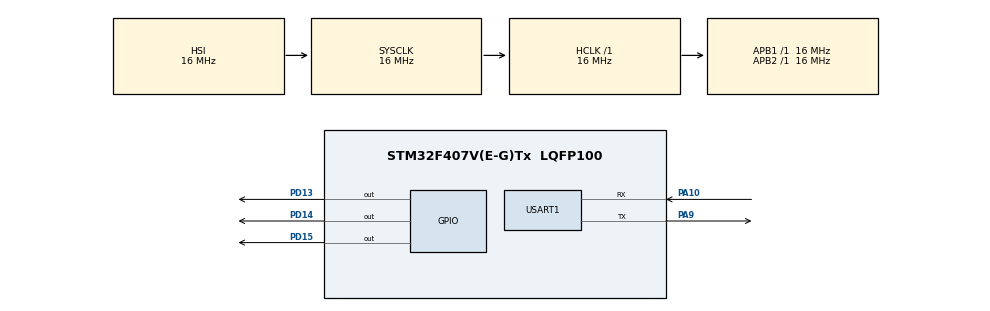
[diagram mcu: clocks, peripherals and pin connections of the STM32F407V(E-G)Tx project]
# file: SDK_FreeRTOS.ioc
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FREERTOS.Tasks01=Task_LED1,0,128,StartTaskLED1,Default,NULL,Dynamic,NULL,NULL;Task_UART,0,128,StartTaskUART,Default,NULL,Dynamic,NULL,NULL;Task_LED2,0,128,StartTasLED2,Default,NULL,Dynamic,NULL,NULL
Mcu.Family=STM32F4
Mcu.Name=STM32F407V(E-G)Tx
Mcu.Package=LQFP100
NVIC.PriorityGroup=NVIC_PRIORITYGROUP_4
NVIC.TIM1_UP_TIM10_IRQn=true\:0\:0\:false\:false\:true\:false\:false\:true
NVIC.TimeBase=TIM1_UP_TIM10_IRQn
NVIC.TimeBaseIP=TIM1
PA10.Mode=Asynchronous
PA10.Signal=USART1_RX
PA13.Mode=JTAG_5_pins
PA13.Signal=SYS_JTMS-SWDIO
PA14.Mode=JTAG_5_pins
PA14.Signal=SYS_JTCK-SWCLK
PA15.Mode=JTAG_5_pins
PA15.Signal=SYS_JTDI
PA9.Mode=Asynchronous
PA9.Signal=USART1_TX
PB3.Mode=JTAG_5_pins
PB3.Signal=SYS_JTDO-SWO
PB4.Mode=JTAG_5_pins
PB4.Signal=SYS_JTRST
PD13.Signal=GPIO_Output
PD14.Signal=GPIO_Output
PD15.Signal=GPIO_Output
PH0-OSC_IN.Mode=HSE-External-Oscillator
PH0-OSC_IN.Signal=RCC_OSC_IN
PH1-OSC_OUT.Mode=HSE-External-Oscillator
PH1-OSC_OUT.Signal=RCC_OSC_OUT
ProjectManager.HeapSize=0x200
ProjectManager.StackSize=0x400
ProjectManager.TargetToolchain=STM32CubeIDE
RCC.AHBFreq_Value=16000000
RCC.APB1Freq_Value=16000000
RCC.APB2Freq_Value=16000000
RCC.CortexFreq_Value=16000000
RCC.HSE_VALUE=25000000
RCC.HSI_VALUE=16000000
RCC.LSE_VALUE=32768
RCC.SYSCLKFreq_VALUE=16000000
RCC.VCOOutputFreq_Value=192000000
USART1.VirtualMode=VM_ASYNC
VP_FREERTOS_VS_CMSIS_V1.Mode=CMSIS_V1
VP_SYS_VS_tim1.Mode=TIM1
board=custom

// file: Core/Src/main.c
/* USER CODE BEGIN Header */
/**
  ******************************************************************************
  * @file           : main.c
  * @brief          : Main program body
  ******************************************************************************
  * This notice applies to any and all portions of this file
  * that are not between comment pairs USER CODE BEGIN and
  * USER CODE END. Other portions of this file, whether
  * inserted by the user or by software development tools
  * are owned by their respective copyright owners.
  *
  * Copyright (c) 2019 STMicroelectronics International N.V.
  * All rights reserved.
  *
  * Redistribution and use in source and binary forms, with or without
  * modification, are permitted, provided that the following conditions are met:
  *
  * 1. Redistribution of source code must retain the above copyright notice,
  *    this list of conditions and the following disclaimer.
  * 2. Redistributions in binary form must reproduce the above copyright notice,
  *    this list of conditions and the following disclaimer in the documentation
  *    and/or other materials provided with the distribution.
  * 3. Neither the name of STMicroelectronics nor the names of other
  *    contributors to this software may be used to endorse or promote products
  *    derived from this software without specific written permission.
  * 4. This software, including modifications and/or derivative works of this
  *    software, must execute solely and exclusively on microcontroller or
  *    microprocessor devices manufactured by or for STMicroelectronics.
  * 5. Redistribution and use of this software other than as permitted under
  *    this license is void and will automatically terminate your rights under
  *    this license.
  *
  * THIS SOFTWARE IS PROVIDED BY STMICROELECTRONICS AND CONTRIBUTORS "AS IS"
  * AND ANY EXPRESS, IMPLIED OR STATUTORY WARRANTIES, INCLUDING, BUT NOT
  * LIMITED TO, THE IMPLIED WARRANTIES OF MERCHANTABILITY, FITNESS FOR A
  * PARTICULAR PURPOSE AND NON-INFRINGEMENT OF THIRD PARTY INTELLECTUAL PROPERTY
  * RIGHTS ARE DISCLAIMED TO THE FULLEST EXTENT PERMITTED BY LAW. IN NO EVENT
  * SHALL STMICROELECTRONICS OR CONTRIBUTORS BE LIABLE FOR ANY DIRECT, INDIRECT,
  * INCIDENTAL, SPECIAL, EXEMPLARY, OR CONSEQUENTIAL DAMAGES (INCLUDING, BUT NOT
  * LIMITED TO, PROCUREMENT OF SUBSTITUTE GOODS OR SERVICES; LOSS OF USE, DATA,
  * OR PROFITS; OR BUSINESS INTERRUPTION) HOWEVER CAUSED AND ON ANY THEORY OF
  * LIABILITY, WHETHER IN CONTRACT, STRICT LIABILITY, OR TORT (INCLUDING
  * NEGLIGENCE OR OTHERWISE) ARISING IN ANY WAY OUT OF THE USE OF THIS SOFTWARE,
  * EVEN IF ADVISED OF THE POSSIBILITY OF SUCH DAMAGE.
  *
  ******************************************************************************
  */
/* USER CODE END Header */

#include "main.h"
#include "cmsis_os.h"
#include "usart.h"
#include "gpio.h"

void SystemClock_Config(void);
void MX_FREERTOS_Init(void);

int main(void)
{

  /* MCU Configuration--------------------------------------------------------*/

  /* Reset of all peripherals, Initializes the Flash interface and the Systick. */
  HAL_Init();

  /* Configure the system clock */
  SystemClock_Config();

  /* Initialize all configured peripherals */
  MX_GPIO_Init();
  MX_USART1_UART_Init();

  /* Call init function for freertos objects (in freertos.c) */
  MX_FREERTOS_Init();
  /* Start scheduler */
  osKernelStart();

  /* We should never get here as control is now taken by the scheduler */
  /* Infinite loop */
  while (1)
  {

  }
}

void SystemClock_Config(void)
{
  RCC_OscInitTypeDef RCC_OscInitStruct = {0};
  RCC_ClkInitTypeDef RCC_ClkInitStruct = {0};

  /** Configure the main internal regulator output voltage
  */
  __HAL_RCC_PWR_CLK_ENABLE();
  __HAL_PWR_VOLTAGESCALING_CONFIG(PWR_REGULATOR_VOLTAGE_SCALE1);
  /** Initializes the CPU, AHB and APB busses clocks
  */
  RCC_OscInitStruct.OscillatorType = RCC_OSCILLATORTYPE_HSI;
  RCC_OscInitStruct.HSIState = RCC_HSI_ON;
  RCC_OscInitStruct.HSICalibrationValue = RCC_HSICALIBRATION_DEFAULT;
  RCC_OscInitStruct.PLL.PLLState = RCC_PLL_NONE;
  if (HAL_RCC_OscConfig(&RCC_OscInitStruct) != HAL_OK)
  {
    Error_Handler();
  }
  /** Initializes the CPU, AHB and APB busses clocks
  */
  RCC_ClkInitStruct.ClockType = RCC_CLOCKTYPE_HCLK|RCC_CLOCKTYPE_SYSCLK
                              |RCC_CLOCKTYPE_PCLK1|RCC_CLOCKTYPE_PCLK2;
  RCC_ClkInitStruct.SYSCLKSource = RCC_SYSCLKSOURCE_HSI;
  RCC_ClkInitStruct.AHBCLKDivider = RCC_SYSCLK_DIV1;
  RCC_ClkInitStruct.APB1CLKDivider = RCC_HCLK_DIV1;
  RCC_ClkInitStruct.APB2CLKDivider = RCC_HCLK_DIV1;

  if (HAL_RCC_ClockConfig(&RCC_ClkInitStruct, FLASH_LATENCY_0) != HAL_OK)
  {
    Error_Handler();
  }
}

 /**
  * @brief  Period elapsed callback in non blocking mode
  * @note   This function is called  when TIM1 interrupt took place, inside
  * HAL_TIM_IRQHandler(). It makes a direct call to HAL_IncTick() to increment
  * a global variable "uwTick" used as application time base.
  * @param  htim : TIM handle
  * @retval None
  */
void HAL_TIM_PeriodElapsedCallback(TIM_HandleTypeDef *htim)
{
  if (htim->Instance == TIM1) {
    HAL_IncTick();
  }
}

void Error_Handler(void)
{
}

/************************ (C) COPYRIGHT STMicroelectronics *****END OF FILE****/

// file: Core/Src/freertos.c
/* USER CODE BEGIN Header */
/**
  ******************************************************************************
  * File Name          : freertos.c
  * Description        : Code for freertos applications
  ******************************************************************************
  * This notice applies to any and all portions of this file
  * that are not between comment pairs USER CODE BEGIN and
  * USER CODE END. Other portions of this file, whether
  * inserted by the user or by software development tools
  * are owned by their respective copyright owners.
  *
  * Copyright (c) 2019 STMicroelectronics International N.V.
  * All rights reserved.
  *
  * Redistribution and use in source and binary forms, with or without
  * modification, are permitted, provided that the following conditions are met:
  *
  * 1. Redistribution of source code must retain the above copyright notice,
  *    this list of conditions and the following disclaimer.
  * 2. Redistributions in binary form must reproduce the above copyright notice,
  *    this list of conditions and the following disclaimer in the documentation
  *    and/or other materials provided with the distribution.
  * 3. Neither the name of STMicroelectronics nor the names of other
  *    contributors to this software may be used to endorse or promote products
  *    derived from this software without specific written permission.
  * 4. This software, including modifications and/or derivative works of this
  *    software, must execute solely and exclusively on microcontroller or
  *    microprocessor devices manufactured by or for STMicroelectronics.
  * 5. Redistribution and use of this software other than as permitted under
  *    this license is void and will automatically terminate your rights under
  *    this license.
  *
  * THIS SOFTWARE IS PROVIDED BY STMICROELECTRONICS AND CONTRIBUTORS "AS IS"
  * AND ANY EXPRESS, IMPLIED OR STATUTORY WARRANTIES, INCLUDING, BUT NOT
  * LIMITED TO, THE IMPLIED WARRANTIES OF MERCHANTABILITY, FITNESS FOR A
  * PARTICULAR PURPOSE AND NON-INFRINGEMENT OF THIRD PARTY INTELLECTUAL PROPERTY
  * RIGHTS ARE DISCLAIMED TO THE FULLEST EXTENT PERMITTED BY LAW. IN NO EVENT
  * SHALL STMICROELECTRONICS OR CONTRIBUTORS BE LIABLE FOR ANY DIRECT, INDIRECT,
  * INCIDENTAL, SPECIAL, EXEMPLARY, OR CONSEQUENTIAL DAMAGES (INCLUDING, BUT NOT
  * LIMITED TO, PROCUREMENT OF SUBSTITUTE GOODS OR SERVICES; LOSS OF USE, DATA,
  * OR PROFITS; OR BUSINESS INTERRUPTION) HOWEVER CAUSED AND ON ANY THEORY OF
  * LIABILITY, WHETHER IN CONTRACT, STRICT LIABILITY, OR TORT (INCLUDING
  * NEGLIGENCE OR OTHERWISE) ARISING IN ANY WAY OUT OF THE USE OF THIS SOFTWARE,
  * EVEN IF ADVISED OF THE POSSIBILITY OF SUCH DAMAGE.
  *
  ******************************************************************************
  */
/* USER CODE END Header */

#include "FreeRTOS.h"
#include "task.h"
#include "main.h"
#include "cmsis_os.h"

/* USER CODE BEGIN Includes */
#include "usart.h"
#include <string.h>
/* USER CODE END Includes */

osThreadId Task_LED1Handle;
osThreadId Task_UARTHandle;
osThreadId Task_LED2Handle;
osMessageQId myQueue01Handle;

void StartTaskLED1(void const * argument);
void StartTaskUART(void const * argument);
void StartTasLED2(void const * argument);

void MX_FREERTOS_Init(void); /* (MISRA C 2004 rule 8.1) */

/* GetIdleTaskMemory prototype (linked to static allocation support) */
void vApplicationGetIdleTaskMemory( StaticTask_t **ppxIdleTaskTCBBuffer, StackType_t **ppxIdleTaskStackBuffer, uint32_t *pulIdleTaskStackSize );

/* Hook prototypes */
void configureTimerForRunTimeStats(void);
unsigned long getRunTimeCounterValue(void);

/* USER CODE BEGIN 1 */
/* Functions needed when configGENERATE_RUN_TIME_STATS is on */
__weak void configureTimerForRunTimeStats(void)
{

}

__weak unsigned long getRunTimeCounterValue(void)
{
return 0;
}
/* USER CODE END 1 */

/* USER CODE BEGIN GET_IDLE_TASK_MEMORY */
static StaticTask_t xIdleTaskTCBBuffer;
static StackType_t xIdleStack[configMINIMAL_STACK_SIZE];

void vApplicationGetIdleTaskMemory( StaticTask_t **ppxIdleTaskTCBBuffer, StackType_t **ppxIdleTaskStackBuffer, uint32_t *pulIdleTaskStackSize )
{
  *ppxIdleTaskTCBBuffer = &xIdleTaskTCBBuffer;
  *ppxIdleTaskStackBuffer = &xIdleStack[0];
  *pulIdleTaskStackSize = configMINIMAL_STACK_SIZE;
  /* place for user code */
}
/* USER CODE END GET_IDLE_TASK_MEMORY */

void MX_FREERTOS_Init(void) {

  /* Create the queue(s) */
  /* definition and creation of myQueue01 */
  osMessageQDef(myQueue01, 16, uint16_t);
  myQueue01Handle = osMessageCreate(osMessageQ(myQueue01), NULL);

  /* Create the thread(s) */
  /* definition and creation of Task_LED1 */
  osThreadDef(Task_LED1, StartTaskLED1, osPriorityNormal, 0, 128);
  Task_LED1Handle = osThreadCreate(osThread(Task_LED1), NULL);

  /* definition and creation of Task_UART */
  osThreadDef(Task_UART, StartTaskUART, osPriorityNormal, 0, 128);
  Task_UARTHandle = osThreadCreate(osThread(Task_UART), NULL);

  /* definition and creation of Task_LED2 */
  osThreadDef(Task_LED2, StartTasLED2, osPriorityNormal, 0, 128);
  Task_LED2Handle = osThreadCreate(osThread(Task_LED2), NULL);

  /* USER CODE BEGIN RTOS_THREADS */
  vQueueAddToRegistry(myQueue01Handle, "queue1");
  /* USER CODE END RTOS_THREADS */

}

void StartTaskLED1(void const * argument)
{
  /* USER CODE BEGIN StartTaskLED1 */
  /* Infinite loop */
  uint32_t state;
  for(;;)
  {
	  HAL_GPIO_TogglePin(GPIOD, GPIO_PIN_15);
	  if (HAL_GPIO_ReadPin(GPIOD,GPIO_PIN_15) == GPIO_PIN_SET) {
		  state = 0x01;
		  osMessagePut(myQueue01Handle, state, 100);
	  } else {
		  state = 0x00;
		  osMessagePut(myQueue01Handle, state, 100);
	  }
	  osDelay(500);
  }
  /* USER CODE END StartTaskLED1 */
}

void StartTaskUART(void const * argument)
{
  /* USER CODE BEGIN StartTaskUART */
  /* Infinite loop */
	osEvent event;
	char *state;
	for(;;)
	  {
		event = osMessageGet(myQueue01Handle, 100);
		if (event.status == osEventMessage) {
			state = event.value.v == 0x00 ? "reset\n\r" : "set\n\r";
			HAL_UART_Transmit(&huart1, (uint8_t *)state, strlen(state), 100);
		}
		osDelay(1);
	  }
  /* USER CODE END StartTaskUART */
}

void StartTasLED2(void const * argument)
{
  /* USER CODE BEGIN StartTasLED2 */
  /* Infinite loop */
  for(;;)
  {
	  HAL_GPIO_TogglePin(GPIOD, GPIO_PIN_13);
	  osDelay(400);
  }
  /* USER CODE END StartTasLED2 */
}

/************************ (C) COPYRIGHT STMicroelectronics *****END OF FILE****/
